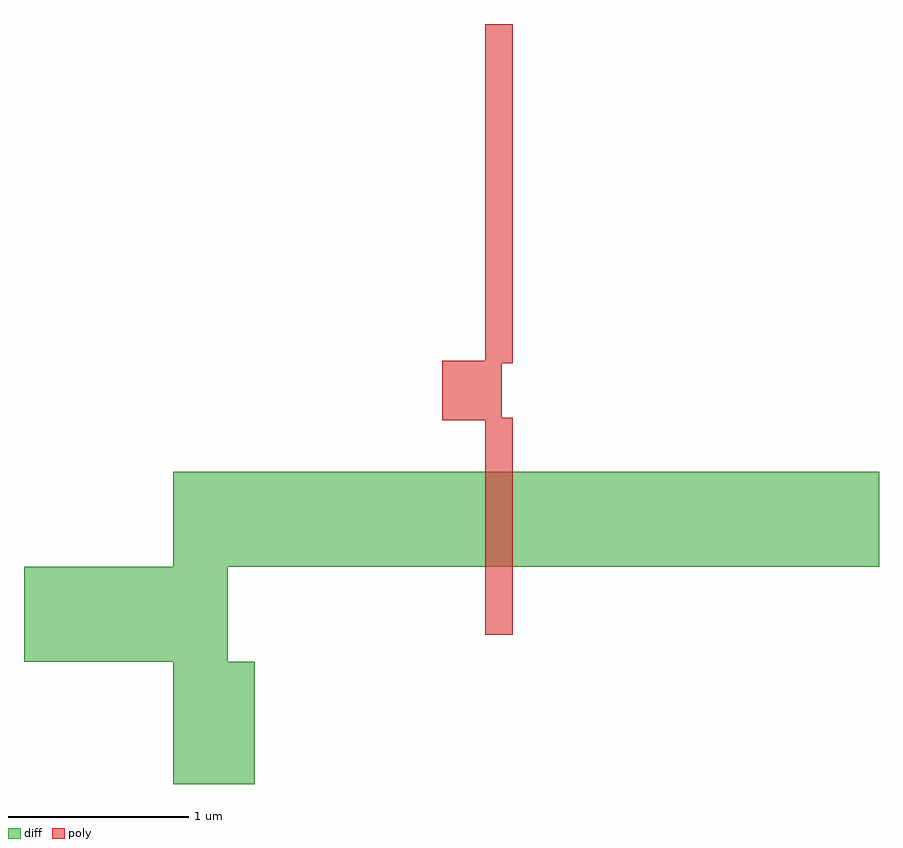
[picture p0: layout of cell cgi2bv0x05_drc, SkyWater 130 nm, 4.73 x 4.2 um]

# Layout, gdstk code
import gdstk
lib = gdstk.Library(unit=1e-6, precision=5e-09)
def R(c, l, rs):  # rectangles x0, y0, x1, y1
    for r in rs: c.add(gdstk.rectangle(r[:2], r[2:], *l))
diff = (65, 20)
poly = (66, 20)

cgi2bv0x05_drc = lib.new_cell('cgi2bv0x05_drc')
R(cgi2bv0x05_drc, diff, [(0.975,0.225,1.425,0.9), (0.975,0.225,1.425,0.9), (0.15,0.9,1.275,1.425), (0.15,0.9,1.275,1.425), (0.15,0.9,1.275,1.425), (0.15,0.9,1.275,1.425), (0.975,1.425,4.875,1.95), (0.975,1.425,4.875,1.95)])
R(cgi2bv0x05_drc, poly, [(2.7,1.05,2.85,2.25), (2.7,1.05,2.85,2.25), (2.46,2.235,2.79,2.565), (2.46,2.235,2.79,2.565), (2.46,2.235,2.79,2.565), (2.46,2.235,2.79,2.565), (2.7,2.55,2.85,4.425), (2.7,2.55,2.85,4.425)])

lib.write_gds('cgi2bv0x05_drc.gds')
